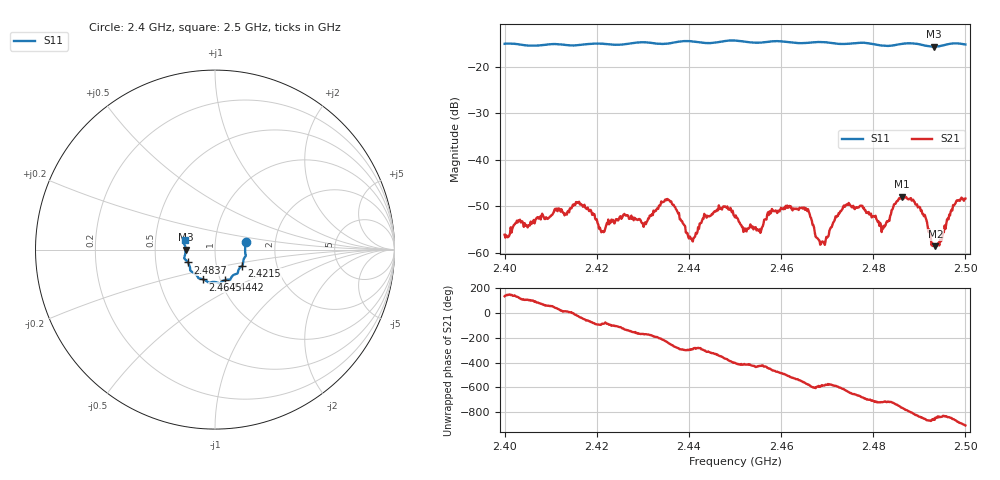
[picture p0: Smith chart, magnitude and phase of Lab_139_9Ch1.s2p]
# Hz S RI R 50
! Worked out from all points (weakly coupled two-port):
!   601 points, 2.4 GHz to 2.5 GHz, reference 50 ohm
!   highest |S21| = -47.96 dB at 2.4862 GHz (marker M1); lowest = -58.6 dB at 2.4935 GHz (marker M2)
!   lowest |S11| = -15.7 dB at 2.4932 GHz (marker M3), VSWR 1.39, Z = 35.9 - j0.0515 ohm
!   |S11| at or under -10 dB: start of sweep to end of sweep
!   S12 and S22 are empty: the file has one direction only
!   S11 on the Smith chart (normalised r, x): 2.4 GHz: 1.41, +0.12; 2.4215 GHz: 1.33, -0.25; 2.4442 GHz: 1.05, -0.37; 2.4645 GHz: 0.83, -0.29; 2.4837 GHz: 0.73, -0.11; 2.5 GHz: 0.71, +0.07
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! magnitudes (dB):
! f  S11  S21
! 2.4 GHz  -15.1  -56.1
! 2.4167 GHz  -15.3  -49.7
! 2.4215 GHz  -15.1  -55.6
! 2.4333 GHz  -15.1  -50.6
! 2.4358 GHz  -15.0  -48.9
! 2.4405 GHz  -14.6  -57.1
! 2.4442 GHz  -15.0  -52.2
! 2.45 GHz  -14.4  -52.4
! 2.4552 GHz  -14.9  -55.3
! 2.4577 GHz  -14.6  -51.6
! 2.4645 GHz  -15.0  -50.3
! 2.4667 GHz  -14.8  -53.1
! 2.469 GHz  -14.7  -57.6
! 2.4742 GHz  -15.1  -49.7
! 2.4833 GHz  -15.5  -53.1
! 2.4837 GHz  -15.5  -52.1
! 2.4862 GHz  -15.1  -48.0
! 2.49 GHz  -15.2  -50.1
! 2.4932 GHz  -15.7  -58.2
! 2.4935 GHz  -15.7  -58.6
! 2.4978 GHz  -15.0  -49.4
! 2.5 GHz  -15.3  -48.3
